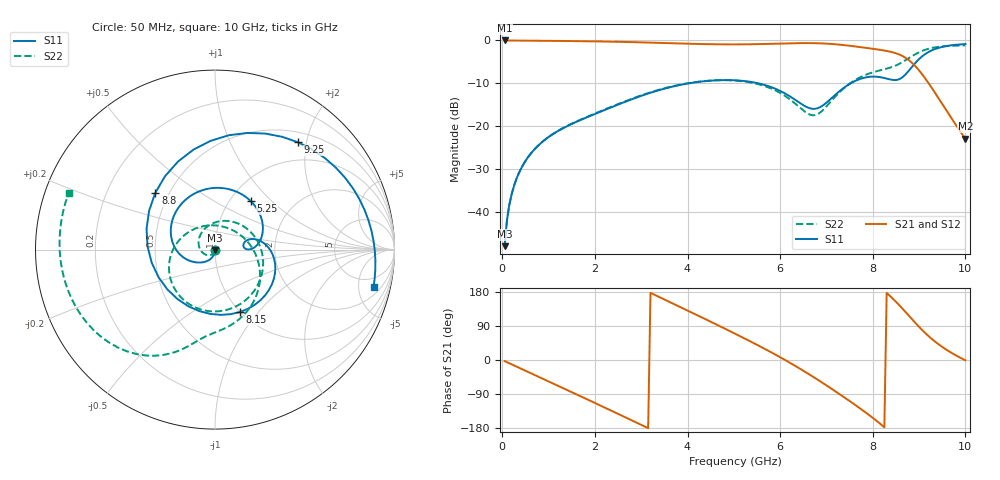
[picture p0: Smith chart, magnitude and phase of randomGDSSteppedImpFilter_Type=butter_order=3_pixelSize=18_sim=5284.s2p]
! freq	dB(S11)	phase(S11)	dB(S12)	phase(S12)
!  dB(S21)	phase(S21)	dB(S22)	phase(S22)
!S-par simulation data
#  GHz  S  DB  R 50
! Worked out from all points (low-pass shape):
!   200 points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, 50 MHz to 10 GHz, reference 50 ohm
!   highest |S21| = -0.01 dB at 50 MHz (marker M1); lowest = -22.9 dB at 10 GHz (marker M2)
!   |S21| within 3 dB of the highest: start of sweep to 8.504 GHz
!   lowest |S11| = -47.9 dB at 50 MHz (marker M3), VSWR 1.01, Z = 50 - j0.403 ohm
!   |S11| at or under -10 dB: start of sweep to 4.022 GHz; 5.532 GHz to 7.521 GHz (1.989 GHz wide, 30.5 % of centre)
!   |S22| runs from -47.9 to -1.2 dB; largest |S21 - S12| = 0
!   S11 on the Smith chart (normalised r, x): 50 MHz: 1.00, -0.01; 5.25 GHz: 1.24, +0.76; 8.15 GHz: 0.99, -0.80; 8.8 GHz: 0.42, +0.34; 9.25 GHz: 0.66, +1.85; 10 GHz: 3.11, -7.32
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0.05  -47.89 -90.5  -0.01 -2.9  -0.01 -2.9  -47.89 -92.7
0.2  -35.88 -96.8  -0.03 -11.4  -0.03 -11.4  -35.88 -105.6
0.5  -28.06 -107.5  -0.05 -28.3  -0.05 -28.3  -28.07 -129.8
1.15  -21.42 -128.1  -0.11 -65.0  -0.11 -65.0  -21.39 176.2
1.75  -18.25 -144.2  -0.18 -99.1  -0.18 -99.1  -18.16 124.0
2.65  -14.30 -170.4  -0.35 -150.8  -0.35 -150.8  -14.18 47.2
3.4  -11.53 158.3  -0.57 165.6  -0.57 165.6  -11.43 -8.2
4.25  -9.64 113.2  -0.83 115.8  -0.83 115.8  -9.59 -61.8
5.05  -9.30 65.8  -0.93 68.1  -0.93 68.1  -9.36 -108.8
5.25  -9.48 53.7  -0.91 55.8  -0.91 55.8  -9.60 -120.9
6.05  -12.03 9.7  -0.72 3.9  -0.72 3.9  -12.54 -178.9
6.7  -15.92 6.5  -0.63 -43.4  -0.63 -43.4  -17.43 85.6
7.4  -10.84 4.9  -1.11 -99.9  -1.11 -99.9  -10.91 -28.1
7.8  -8.73 -26.4  -1.66 -134.3  -1.66 -134.3  -8.22 -62.8
8.15  -8.53 -68.5  -2.18 -167.2  -2.18 -167.2  -6.98 -85.1
8.35  -9.03 -104.2  -2.56 171.5  -2.56 171.5  -6.41 -94.4
8.6  -8.87 -168.3  -3.42 141.0  -3.42 141.0  -5.29 -103.9
8.8  -6.76 136.4  -4.78 114.1  -4.78 114.1  -3.98 -113.6
9  -4.34 92.2  -6.98 87.4  -6.98 87.4  -2.76 -126.9
9.25  -2.43 52.3  -10.66 58.1  -10.66 58.1  -1.82 -146.1
9.6  -1.29 15.0  -16.45 26.4  -16.45 26.4  -1.32 -172.3
10  -0.84 -13.2  -22.91 -0.9  -22.91 -0.9  -1.17 158.8
